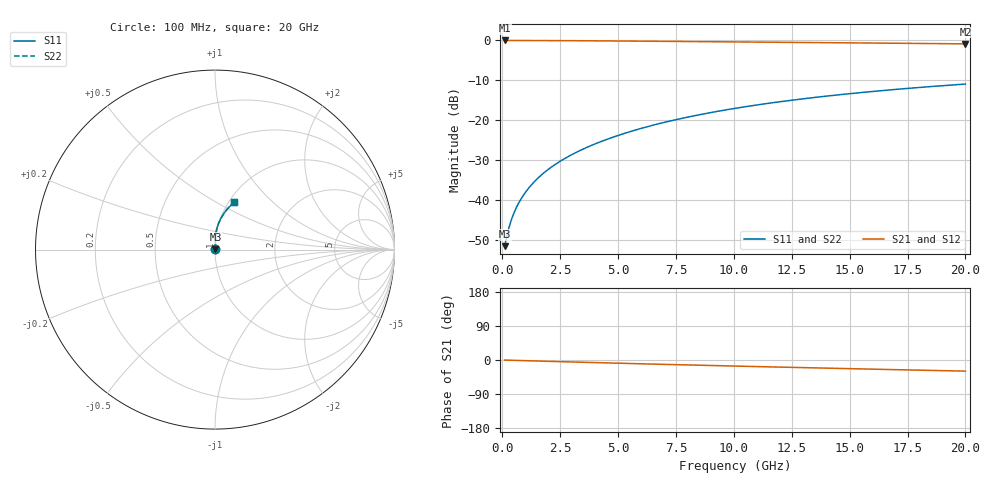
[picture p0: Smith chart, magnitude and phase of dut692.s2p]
! Touchstone file exported from HFSS 2024.1.0
!  File:  C:/UserFiles/LocalFiles/RDL_TSV_Batchsim/temp_RDL_bottom_692_1779787069.aedt
!  Generated:  05:20:24 PM May 26, 2026
!  Design:  RDL_bottom
!  Project:  temp_RDL_bottom_692_1779787069
!  Setup:  Setup1
!  Solution:  Sweep
! Variables:
!  dtsv = 10.80580581um
!  hbump = 3um
!  htsv = 61.67um
!  ldown = 395.58um
!  lrdl = 100um
!  p = 40
!  p1 = 52.22um
!  rhole = 1um
!  t = 450um
!  tdown = 2.8um
!  trdl = 3.915915916um
!  wdown = 25.39um
!  wrdl = 20um
# GHz S MA R 50.000000
! Terminal data exported
! Port[1] = RDL1_T1
! Port[2] = RDL1_T2
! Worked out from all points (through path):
!   200 points, 100 MHz to 20 GHz, reference 50 ohm
!   highest |S21| = -0.02 dB at 100 MHz (marker M1); lowest = -0.9 dB at 20 GHz (marker M2)
!   group delay of S21, straight-line fit = 4.04 ps
!   lowest |S11| = -51.6 dB at 100 MHz (marker M3), VSWR 1.01, Z = 50.2 + j0.135 ohm
!   |S11| at or under -10 dB: start of sweep to end of sweep
!   |S22| runs from -51.6 to -11.0 dB; largest |S21 - S12| = 3.5e-15
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0.1  0.002635 30.8  0.9977 -0.2  0.9977 -0.2  0.002635 30.8
! Gamma 0 0 0 0
! Port Impedance 50 0 50 0
0.2  0.003548 48.5  0.9976 -0.4  0.9976 -0.4  0.003548 48.5
0.3  0.004619 57.9  0.9975 -0.5  0.9975 -0.5  0.004619 57.9
0.4  0.005725 63.6  0.9973 -0.7  0.9973 -0.7  0.005725 63.6
0.5  0.006836 67.4  0.9972 -0.9  0.9972 -0.9  0.006836 67.4
0.6  0.007949 70.3  0.997 -1.1  0.997 -1.1  0.007949 70.3
0.8  0.01019 74.5  0.9967 -1.4  0.9967 -1.4  0.01019 74.5
1.1  0.01362 78.5  0.9963 -1.9  0.9963 -1.9  0.01362 78.5
1.3  0.01595 80.3  0.9959 -2.3  0.9959 -2.3  0.01595 80.3
1.6  0.0195 82.4  0.9953 -2.8  0.9953 -2.8  0.0195 82.4
2.1  0.02557 84.7  0.9941 -3.7  0.9941 -3.7  0.02557 84.7
2.7  0.0331 86.3  0.9923 -4.7  0.9923 -4.7  0.0331 86.3
3.5  0.04354 87.5  0.9895 -6.0  0.9895 -6.0  0.04354 87.5
4.2  0.05306 88.0  0.9866 -7.2  0.9866 -7.2  0.05306 88.0
5  0.06433 88.1  0.9829 -8.5  0.9829 -8.5  0.06433 88.1
6.8  0.09086 87.0  0.974 -11.3  0.974 -11.3  0.09085 87.0
8.4  0.1152 85.2  0.9657 -13.7  0.9657 -13.7  0.1152 85.2
10.1  0.1414 82.8  0.9568 -16.1  0.9568 -16.1  0.1414 82.8
11.7  0.1658 80.4  0.9484 -18.4  0.9484 -18.4  0.1658 80.4
13.4  0.1913 77.8  0.9395 -20.7  0.9395 -20.7  0.1913 77.8
16.7  0.2389 72.8  0.9221 -25.1  0.9221 -25.1  0.2389 72.8
20  0.2834 67.9  0.9045 -29.4  0.9045 -29.4  0.2834 67.9
